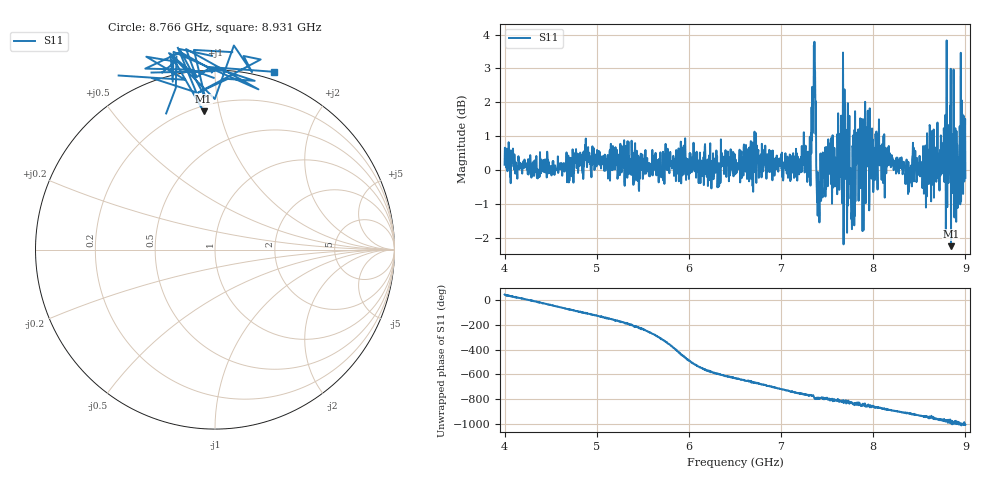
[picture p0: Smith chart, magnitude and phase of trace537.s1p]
! Created with skrf 1.8.0 (http://scikit-rf.org).
# Hz S RI R 50.0
!freq ReS11 ImS11
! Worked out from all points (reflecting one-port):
!   1601 points, 4 GHz to 9 GHz, reference 50 ohm
!   lowest |S11| = -2.2 dB at 8.844 GHz (marker M1), VSWR 7.78, Z = 11.7 + j44.7 ohm
!   phase of S11 starts at 47 deg and turns -1056 deg over the sweep
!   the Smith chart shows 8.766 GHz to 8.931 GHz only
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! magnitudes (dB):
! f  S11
! 4 GHz  0.2
! 4.625 GHz  -0.2
! 4.9 GHz  0.3
! 5.25 GHz  -0.1
! 5.875 GHz  0.0
! 6.5 GHz  0.1
! 7.125 GHz  0.2
! 7.294 GHz  0.2
! 7.353 GHz  2.2
! 7.369 GHz  2.9
! 7.397 GHz  -1.3
! 7.409 GHz  -0.8
! 7.534 GHz  0.0
! 7.609 GHz  -0.7
! 7.672 GHz  3.5
! 7.75 GHz  -0.3
! 7.775 GHz  0.7
! 7.822 GHz  0.2
! 7.928 GHz  1.3
! 7.981 GHz  -0.3
! 8.05 GHz  1.0
! 8.375 GHz  -0.3
! 8.766 GHz  1.2
! 8.816 GHz  -0.4
! 8.844 GHz  -2.2
! 8.919 GHz  -0.4
! 8.972 GHz  0.1
! 9 GHz  -0.2
